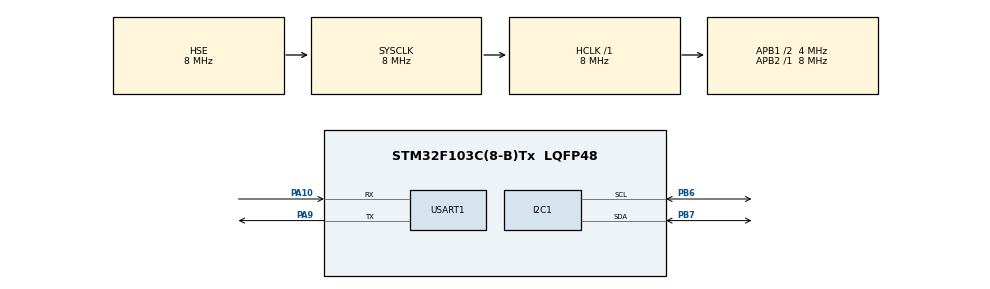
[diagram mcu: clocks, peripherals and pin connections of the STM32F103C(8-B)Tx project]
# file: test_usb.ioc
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Dma.I2C1_RX.0.Direction=DMA_PERIPH_TO_MEMORY
Dma.I2C1_RX.0.Instance=DMA1_Channel7
Dma.I2C1_RX.0.MemDataAlignment=DMA_MDATAALIGN_BYTE
Dma.I2C1_RX.0.MemInc=DMA_MINC_ENABLE
Dma.I2C1_RX.0.Mode=DMA_NORMAL
Dma.I2C1_RX.0.PeriphDataAlignment=DMA_PDATAALIGN_BYTE
Dma.I2C1_RX.0.PeriphInc=DMA_PINC_DISABLE
Dma.I2C1_RX.0.Priority=DMA_PRIORITY_LOW
Dma.I2C1_TX.1.Direction=DMA_MEMORY_TO_PERIPH
Dma.I2C1_TX.1.Instance=DMA1_Channel6
Dma.I2C1_TX.1.MemDataAlignment=DMA_MDATAALIGN_BYTE
Dma.I2C1_TX.1.MemInc=DMA_MINC_ENABLE
Dma.I2C1_TX.1.Mode=DMA_NORMAL
Dma.I2C1_TX.1.PeriphDataAlignment=DMA_PDATAALIGN_BYTE
Dma.I2C1_TX.1.PeriphInc=DMA_PINC_DISABLE
Dma.I2C1_TX.1.Priority=DMA_PRIORITY_LOW
Dma.MEMTOMEM.4.Direction=DMA_MEMORY_TO_MEMORY
Dma.MEMTOMEM.4.Instance=DMA1_Channel1
Dma.MEMTOMEM.4.MemDataAlignment=DMA_MDATAALIGN_BYTE
Dma.MEMTOMEM.4.MemInc=DMA_MINC_ENABLE
Dma.MEMTOMEM.4.Mode=DMA_NORMAL
Dma.MEMTOMEM.4.PeriphDataAlignment=DMA_PDATAALIGN_BYTE
Dma.MEMTOMEM.4.PeriphInc=DMA_PINC_ENABLE
Dma.MEMTOMEM.4.Priority=DMA_PRIORITY_LOW
Dma.Request0=I2C1_RX
Dma.Request1=I2C1_TX
Dma.Request2=USART1_TX
Dma.Request3=USART1_RX
Dma.Request4=MEMTOMEM
Dma.USART1_RX.3.Direction=DMA_PERIPH_TO_MEMORY
Dma.USART1_RX.3.Instance=DMA1_Channel5
Dma.USART1_RX.3.MemDataAlignment=DMA_MDATAALIGN_BYTE
Dma.USART1_RX.3.MemInc=DMA_MINC_ENABLE
Dma.USART1_RX.3.Mode=DMA_NORMAL
Dma.USART1_RX.3.PeriphDataAlignment=DMA_PDATAALIGN_BYTE
Dma.USART1_RX.3.PeriphInc=DMA_PINC_DISABLE
Dma.USART1_RX.3.Priority=DMA_PRIORITY_LOW
Dma.USART1_TX.2.Direction=DMA_MEMORY_TO_PERIPH
Dma.USART1_TX.2.Instance=DMA1_Channel4
Dma.USART1_TX.2.MemDataAlignment=DMA_MDATAALIGN_BYTE
Dma.USART1_TX.2.MemInc=DMA_MINC_ENABLE
Dma.USART1_TX.2.Mode=DMA_NORMAL
Dma.USART1_TX.2.PeriphDataAlignment=DMA_PDATAALIGN_BYTE
Dma.USART1_TX.2.PeriphInc=DMA_PINC_DISABLE
Dma.USART1_TX.2.Priority=DMA_PRIORITY_LOW
I2C1.I2C_Mode=I2C_Fast
Mcu.Family=STM32F1
Mcu.Name=STM32F103C(8-B)Tx
Mcu.Package=LQFP48
NVIC.DMA1_Channel4_IRQn=true\:0\:0\:false\:false\:true\:false\:true\:true
NVIC.DMA1_Channel5_IRQn=true\:0\:0\:false\:false\:true\:false\:true\:true
NVIC.DMA1_Channel6_IRQn=true\:0\:0\:false\:false\:true\:false\:true\:true
NVIC.DMA1_Channel7_IRQn=true\:0\:0\:false\:false\:true\:false\:true\:true
NVIC.I2C1_ER_IRQn=true\:0\:0\:false\:false\:true\:true\:true\:true
NVIC.I2C1_EV_IRQn=true\:0\:0\:false\:false\:true\:true\:true\:true
NVIC.PriorityGroup=NVIC_PRIORITYGROUP_4
NVIC.USART1_IRQn=true\:0\:0\:false\:false\:true\:true\:true\:true
PA10.Mode=Asynchronous
PA10.Signal=USART1_RX
PA13.Mode=Serial_Wire
PA13.Signal=SYS_JTMS-SWDIO
PA14.Mode=Serial_Wire
PA14.Signal=SYS_JTCK-SWCLK
PA9.Mode=Asynchronous
PA9.Signal=USART1_TX
PB6.Mode=I2C
PB6.Signal=I2C1_SCL
PB7.Mode=I2C
PB7.Signal=I2C1_SDA
PD0-OSC_IN.Mode=HSE-External-Oscillator
PD0-OSC_IN.Signal=RCC_OSC_IN
PD1-OSC_OUT.Mode=HSE-External-Oscillator
PD1-OSC_OUT.Signal=RCC_OSC_OUT
ProjectManager.HeapSize=0x200
ProjectManager.StackSize=0x400
ProjectManager.TargetToolchain=STM32CubeIDE
RCC.AHBFreq_Value=8000000
RCC.APB1CLKDivider=RCC_HCLK_DIV2
RCC.APB1Freq_Value=4000000
RCC.APB1TimFreq_Value=8000000
RCC.APB2Freq_Value=8000000
RCC.APB2TimFreq_Value=8000000
RCC.HCLKFreq_Value=8000000
RCC.PLLMUL=RCC_PLL_MUL9
RCC.PLLSourceVirtual=RCC_PLLSOURCE_HSE
RCC.SYSCLKFreq_VALUE=8000000
RCC.SYSCLKSource=RCC_SYSCLKSOURCE_HSE
RCC.USBFreq_Value=48000000
RCC.USBPrescaler=RCC_USBCLKSOURCE_PLL_DIV1_5
USART1.VirtualMode=VM_ASYNC
board=custom

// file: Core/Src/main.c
/* USER CODE BEGIN Header */
/**
  ******************************************************************************
  * @file           : main.c
  * @brief          : Main program body
  ******************************************************************************
  * @attention
  *
  * Copyright (c) 2023 STMicroelectronics.
  * All rights reserved.
  *
  * This software is licensed under terms that can be found in the LICENSE file
  * in the root directory of this software component.
  * If no LICENSE file comes with this software, it is provided AS-IS.
  *
  ******************************************************************************
  */
/* USER CODE END Header */
#include "main.h"

/* USER CODE BEGIN Includes */
#include "accel.h"
#include "bno055.h"
//Setting Address of BNO055_I2C_Address
//#define BNO055_I2C_ADDRESS 0x28
/* USER CODE END Includes */

I2C_HandleTypeDef hi2c1;
DMA_HandleTypeDef hdma_i2c1_rx;
DMA_HandleTypeDef hdma_i2c1_tx;

UART_HandleTypeDef huart1;
DMA_HandleTypeDef hdma_usart1_tx;
DMA_HandleTypeDef hdma_usart1_rx;

DMA_HandleTypeDef hdma_memtomem_dma1_channel1;

void SystemClock_Config(void);
static void MX_GPIO_Init(void);
static void MX_DMA_Init(void);
static void MX_I2C1_Init(void);
static void MX_USART1_UART_Init(void);

/* USER CODE BEGIN 0 */
//char *temp_1="Hello\t";
//char *gcc_x_p="gcc_x\n";
//char *gcc_y_p="gcc_y\n";
//char *gcc_z_p="gcc_z\n";

uint8_t  temp_2[64];
/* USER CODE END 0 */

int main(void)
{
  /* USER CODE BEGIN 1 */
	uint8_t		imu_readings[IMU_NUMBER_OF_BYTES];
	int16_t 	accel_data[3];
	int16_t     gyro_data[3];
	uint8_t  buf[18];
	float       gcc_x, gcc_y, gcc_z;
	float		acc_x, acc_y, acc_z;
  /* USER CODE END 1 */

  /* MCU Configuration--------------------------------------------------------*/

  /* Reset of all peripherals, Initializes the Flash interface and the Systick. */
  HAL_Init();

  /* Configure the system clock */
  SystemClock_Config();

  /* Initialize all configured peripherals */
  MX_GPIO_Init();
  MX_DMA_Init();
  MX_I2C1_Init();
  MX_USART1_UART_Init();

  BNO055_Init_I2C(&hi2c1);
  /* USER CODE BEGIN 2 */
//  //Send Reset Command to BNO055
//  uint8_t reset_cmd = 0x20;
//  HAL_I2C_Master_Transmit(&hi2c1,BNO055_I2C_ADDRESS,&reset_cmd,1,HAL_MAX_DELAY);
//  HAL_Delay(700);
//
//  //Set Operation Mode
//  uint8_t mode= 0x0C;// Fusion Mode
//  HAL_I2C_Mem_Write(&hi2c1, BNO055_I2C_ADDRESS,0x3D,1,&mode,1,HAL_MAX_DELAY);
//
//
//  //Configure BNO055
//  //Set units to degrees
//  uint8_t uint_sel =0x01;
//  uint8_t odr_sel= 0x06;
//  HAL_I2C_Mem_Write(&hi2c1, BNO055_I2C_ADDRESS, 0x3B,1,&odr_sel,1,HAL_MAX_DELAY);
//
//  //Set output data rate to 100Hz
//
//  HAL_I2C_Mem_Write(&hi2c1, BNO055_I2C_ADDRESS , 0x3B,1,&uint_sel,1,HAL_MAX_DELAY);
//
//  //Enable Accelerometer , gyroscope,and Magnetometer sensors
//   uint8_t pwr_mode =0x00;
//  HAL_I2C_Mem_Write(&hi2c1,BNO055_I2C_ADDRESS, 0x3E ,1 , &pwr_mode, 1, HAL_MAX_DELAY);
//
//  //Read sensor data
// unsigned char data[6];
// HAL_I2C_Mem_Read(&hi2c1,BNO055_I2C_ADDRESS, 0x1A,1 , data, 6 , HAL_MAX_DELAY);
//

  /* USER CODE END 2 */

  /* Infinite loop */
  /* USER CODE BEGIN WHILE */
  while (1)
  {

          HAL_Delay(300);
    	  GetAccelData(&hi2c1, (uint8_t*)imu_readings);
    	  accel_data[0] = (((int16_t)((uint8_t *)(imu_readings))[1] << 8) | ((uint8_t *)(imu_readings))[0]);      // Turn the MSB and LSB into a signed 16-bit value
    	  accel_data[1] = (((int16_t)((uint8_t *)(imu_readings))[3] << 8) | ((uint8_t *)(imu_readings))[2]);
    	  accel_data[2] = (((int16_t)((uint8_t *)(imu_readings))[5] << 8) | ((uint8_t *)(imu_readings))[4]);
    	  acc_x = ((float)(accel_data[0]))/100.0f; //m/s2
    	  acc_y = ((float)(accel_data[1]))/100.0f;
    	  acc_z = ((float)(accel_data[2]))/100.0f;

	 	 sprintf((char*)buf," accX: %0.2f accY:%0.2f accZ:%0.2f \r\n",((float)acc_x),((float)acc_y),((float)acc_z));
	 	  HAL_UART_Transmit(&huart1, buf, strlen((char*)buf), HAL_MAX_DELAY);
//           HAL_Delay(300);
//		 	 CDC_Transmit_FS((uint8_t )acc_x, sizeof(acc_x));
//		 	 CDC_Transmit_FS((uint8_t )acc_y, sizeof(acc_y));
//		 	 CDC_Transmit_FS((uint8_t )acc_z, sizeof(acc_z));
//	 	  GetGyroData(&hi2c1, (uint8_t *) imu_readings);
//	 	  gyro_data[0] = (((int16_t)((uint8_t *)(imu_readings))[1] << 8) | ((uint8_t *)(imu_readings))[0]);      // Turn the MSB and LSB into a signed 16-bit value
//	 	  gyro_data[1] = (((int16_t)((uint8_t *)(imu_readings))[3] << 8) | ((uint8_t *)(imu_readings))[2]);
//	 	  gyro_data[2] = (((int16_t)((uint8_t *)(imu_readings))[5] << 8) | ((uint8_t *)(imu_readings))[4]);
//          gcc_x = ((float)(gyro_data[0]))/100.0f;
//	 	  gcc_y = ((float)(gyro_data[1]))/100.0f;
//	 	  gcc_z = ((float)(gyro_data[2]))/100.0f;
//		  sprintf((char*)buf," gccX: %0.2f gccY:%0.2f gccZ:%0.2f \r\n",((float)gcc_x),((float)gcc_y),((float)gcc_z));
//		  HAL_UART_Transmit(&huart1, buf, strlen((char*)buf), HAL_MAX_DELAY);
////              CDC_Transmit_FS((uint8_t *)gcc_x_p, sizeof(gcc_x_p));
//	 	      CDC_Transmit_FS((uint8_t )gcc_x, sizeof(gcc_x));
////	 	      CDC_Transmit_FS((uint8_t *)gcc_y_p, sizeof(gcc_y_p));
//	 	 	  CDC_Transmit_FS((uint8_t )gcc_y, sizeof(gcc_y));
////	 	 	  CDC_Transmit_FS((uint8_t *)gcc_z_p, sizeof(gcc_z_p));
//	 	 	  CDC_Transmit_FS((uint8_t )gcc_z, sizeof(gcc_z));

//	  CDC_Transmit_FS((uint8_t *)temp_1, strlen(temp_1));

//	  CDC_Transmit_FS((uint8_t*)data,sizeof(data));
//	  for( int i=0; i < 5; i++){
//		  CDC_Transmit_FS((uint8_t*)data[i],strlen(data[i]));
//	  }

//    CDC_Transmit_FS((uint8_t*) data,strlen(data));

    /* USER CODE END WHILE */

  }
}

void SystemClock_Config(void)
{
  RCC_OscInitTypeDef RCC_OscInitStruct = {0};
  RCC_ClkInitTypeDef RCC_ClkInitStruct = {0};

  /** Initializes the RCC Oscillators according to the specified parameters
  * in the RCC_OscInitTypeDef structure.
  */
  RCC_OscInitStruct.OscillatorType = RCC_OSCILLATORTYPE_HSE;
  RCC_OscInitStruct.HSEState = RCC_HSE_ON;
  RCC_OscInitStruct.PLL.PLLState = RCC_PLL_NONE;
  if (HAL_RCC_OscConfig(&RCC_OscInitStruct) != HAL_OK)
  {
    Error_Handler();
  }

  /** Initializes the CPU, AHB and APB buses clocks
  */
  RCC_ClkInitStruct.ClockType = RCC_CLOCKTYPE_HCLK|RCC_CLOCKTYPE_SYSCLK
                              |RCC_CLOCKTYPE_PCLK1|RCC_CLOCKTYPE_PCLK2;
  RCC_ClkInitStruct.SYSCLKSource = RCC_SYSCLKSOURCE_HSE;
  RCC_ClkInitStruct.AHBCLKDivider = RCC_SYSCLK_DIV1;
  RCC_ClkInitStruct.APB1CLKDivider = RCC_HCLK_DIV2;
  RCC_ClkInitStruct.APB2CLKDivider = RCC_HCLK_DIV1;

  if (HAL_RCC_ClockConfig(&RCC_ClkInitStruct, FLASH_LATENCY_0) != HAL_OK)
  {
    Error_Handler();
  }
}

static void MX_I2C1_Init(void)
{

  hi2c1.Instance = I2C1;
  hi2c1.Init.ClockSpeed = 400000;
  hi2c1.Init.DutyCycle = I2C_DUTYCYCLE_2;
  hi2c1.Init.OwnAddress1 = 0;
  hi2c1.Init.AddressingMode = I2C_ADDRESSINGMODE_7BIT;
  hi2c1.Init.DualAddressMode = I2C_DUALADDRESS_DISABLE;
  hi2c1.Init.OwnAddress2 = 0;
  hi2c1.Init.GeneralCallMode = I2C_GENERALCALL_DISABLE;
  hi2c1.Init.NoStretchMode = I2C_NOSTRETCH_DISABLE;
  if (HAL_I2C_Init(&hi2c1) != HAL_OK)
  {
    Error_Handler();
  }

}

static void MX_USART1_UART_Init(void)
{

  huart1.Instance = USART1;
  huart1.Init.BaudRate = 115200;
  huart1.Init.WordLength = UART_WORDLENGTH_8B;
  huart1.Init.StopBits = UART_STOPBITS_1;
  huart1.Init.Parity = UART_PARITY_NONE;
  huart1.Init.Mode = UART_MODE_TX_RX;
  huart1.Init.HwFlowCtl = UART_HWCONTROL_NONE;
  huart1.Init.OverSampling = UART_OVERSAMPLING_16;
  if (HAL_UART_Init(&huart1) != HAL_OK)
  {
    Error_Handler();
  }

}

static void MX_DMA_Init(void)
{

  /* DMA controller clock enable */
  __HAL_RCC_DMA1_CLK_ENABLE();

  /* Configure DMA request hdma_memtomem_dma1_channel1 on DMA1_Channel1 */
  hdma_memtomem_dma1_channel1.Instance = DMA1_Channel1;
  hdma_memtomem_dma1_channel1.Init.Direction = DMA_MEMORY_TO_MEMORY;
  hdma_memtomem_dma1_channel1.Init.PeriphInc = DMA_PINC_ENABLE;
  hdma_memtomem_dma1_channel1.Init.MemInc = DMA_MINC_ENABLE;
  hdma_memtomem_dma1_channel1.Init.PeriphDataAlignment = DMA_PDATAALIGN_BYTE;
  hdma_memtomem_dma1_channel1.Init.MemDataAlignment = DMA_MDATAALIGN_BYTE;
  hdma_memtomem_dma1_channel1.Init.Mode = DMA_NORMAL;
  hdma_memtomem_dma1_channel1.Init.Priority = DMA_PRIORITY_LOW;
  if (HAL_DMA_Init(&hdma_memtomem_dma1_channel1) != HAL_OK)
  {
    Error_Handler( );
  }

  /* DMA interrupt init */
  /* DMA1_Channel4_IRQn interrupt configuration */
  HAL_NVIC_SetPriority(DMA1_Channel4_IRQn, 0, 0);
  HAL_NVIC_EnableIRQ(DMA1_Channel4_IRQn);
  /* DMA1_Channel5_IRQn interrupt configuration */
  HAL_NVIC_SetPriority(DMA1_Channel5_IRQn, 0, 0);
  HAL_NVIC_EnableIRQ(DMA1_Channel5_IRQn);
  /* DMA1_Channel6_IRQn interrupt configuration */
  HAL_NVIC_SetPriority(DMA1_Channel6_IRQn, 0, 0);
  HAL_NVIC_EnableIRQ(DMA1_Channel6_IRQn);
  /* DMA1_Channel7_IRQn interrupt configuration */
  HAL_NVIC_SetPriority(DMA1_Channel7_IRQn, 0, 0);
  HAL_NVIC_EnableIRQ(DMA1_Channel7_IRQn);

}

static void MX_GPIO_Init(void)
{

  /* GPIO Ports Clock Enable */
  __HAL_RCC_GPIOD_CLK_ENABLE();
  __HAL_RCC_GPIOA_CLK_ENABLE();
  __HAL_RCC_GPIOB_CLK_ENABLE();

}

void Error_Handler(void)
{
  __disable_irq();
  while (1)
  {
  }
}
